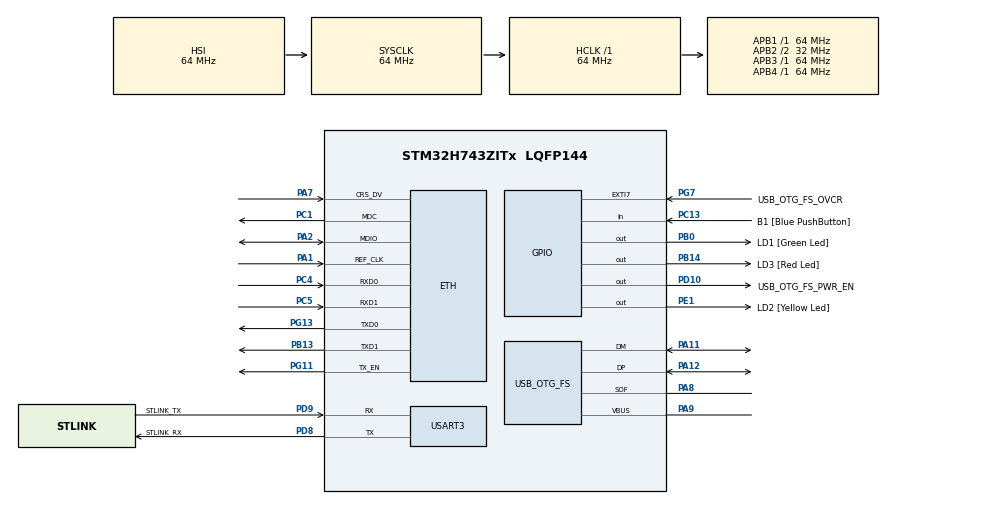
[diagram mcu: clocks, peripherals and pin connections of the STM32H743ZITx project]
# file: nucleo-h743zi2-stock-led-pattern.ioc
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ETH.MediaInterface=HAL_ETH_RMII_MODE
Mcu.Family=STM32H7
Mcu.Name=STM32H743ZITx
Mcu.Package=LQFP144
NVIC.EXTI9_5_IRQn=true\:0\:0\:false\:false\:false\:true\:false\:true
NVIC.PriorityGroup=NVIC_PRIORITYGROUP_4
NVIC.TIM16_IRQn=true\:0\:0\:false\:false\:true\:true\:true\:true
PA1.Mode=RMII
PA1.Signal=ETH_REF_CLK
PA11.Mode=Device_Only
PA11.Signal=USB_OTG_FS_DM
PA12.Mode=Device_Only
PA12.Signal=USB_OTG_FS_DP
PA2.Mode=RMII
PA2.Signal=ETH_MDIO
PA7.Mode=RMII
PA7.Signal=ETH_CRS_DV
PA8.Mode=Activate_SOF_FS
PA8.Signal=USB_OTG_FS_SOF
PA9.Mode=Activate_VBUS
PA9.Signal=USB_OTG_FS_VBUS
PB0.GPIO_Label=LD1 [Green Led]
PB0.Signal=GPIO_Output
PB13.Mode=RMII
PB13.Signal=ETH_TXD1
PB14.GPIO_Label=LD3 [Red Led]
PB14.Signal=GPIO_Output
PC1.Mode=RMII
PC1.Signal=ETH_MDC
PC13.GPIO_Label=B1 [Blue PushButton]
PC13.Signal=GPIO_Input
PC14-OSC32_IN\ (OSC32_IN).Mode=LSE-External-Oscillator
PC14-OSC32_IN\ (OSC32_IN).Signal=RCC_OSC32_IN
PC15-OSC32_OUT\ (OSC32_OUT).Mode=LSE-External-Oscillator
PC15-OSC32_OUT\ (OSC32_OUT).Signal=RCC_OSC32_OUT
PC4.Mode=RMII
PC4.Signal=ETH_RXD0
PC5.Mode=RMII
PC5.Signal=ETH_RXD1
PD10.GPIO_Label=USB_OTG_FS_PWR_EN
PD10.Signal=GPIO_Output
PD8.GPIO_Label=STLINK_RX
PD8.Mode=Asynchronous
PD8.Signal=USART3_TX
PD9.GPIO_Label=STLINK_TX
PD9.Mode=Asynchronous
PD9.Signal=USART3_RX
PE1.GPIO_Label=LD2 [Yellow Led]
PE1.Signal=GPIO_Output
PG11.Mode=RMII
PG11.Signal=ETH_TX_EN
PG13.Mode=RMII
PG13.Signal=ETH_TXD0
PG7.GPIO_Label=USB_OTG_FS_OVCR
PG7.Signal=GPXTI7
PH0-OSC_IN\ (PH0).Mode=HSE-External-Clock-Source
PH0-OSC_IN\ (PH0).Signal=RCC_OSC_IN
PH1-OSC_OUT\ (PH1).Signal=RCC_OSC_OUT
ProjectManager.HeapSize=0x200
ProjectManager.StackSize=0x400
ProjectManager.TargetToolchain=STM32CubeIDE
RCC.ADCFreq_Value=16125000
RCC.APB1Freq_Value=64000000
RCC.APB2Freq_Value=32000000
RCC.APB3Freq_Value=64000000
RCC.APB4Freq_Value=64000000
RCC.CortexFreq_Value=64000000
RCC.D2PPRE2=RCC_APB2_DIV2
RCC.DIVM1=1
RCC.DIVN1=24
RCC.DIVQ1=4
RCC.HCLKFreq_Value=64000000
RCC.HSE_VALUE=8000000
RCC.PLLFRACN=0
RCC.PWR_Regulator_Voltage_Scale=PWR_REGULATOR_VOLTAGE_SCALE2
RCC.SYSCLKFreq_VALUE=64000000
RCC.USBFreq_Value=48000000
TIM16.Period=2500-1
TIM16.Prescaler=6400-1
USART3.VirtualMode-Asynchronous=VM_ASYNC
USB_OTG_FS.VirtualMode=Device_Only
VP_TIM16_VS_ClockSourceINT.Mode=Enable_Timer
board=NUCLEO-H743ZI2

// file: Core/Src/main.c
/* USER CODE BEGIN Header */
/**
  ******************************************************************************
  * @file           : main.c
  * @brief          : Main program body
  ******************************************************************************
  * @attention
  *
  * Copyright (c) 2022 STMicroelectronics.
  * All rights reserved.
  *
  * This software is licensed under terms that can be found in the LICENSE file
  * in the root directory of this software component.
  * If no LICENSE file comes with this software, it is provided AS-IS.
  *
  ******************************************************************************
  */
/* USER CODE END Header */
#include "main.h"
#include "string.h"

/* USER CODE BEGIN Includes */
#include <stdio.h>

/* USER CODE END Includes */

#if defined ( __ICCARM__ ) /*!< IAR Compiler */
#pragma location=0x30000000
ETH_DMADescTypeDef  DMARxDscrTab[ETH_RX_DESC_CNT]; /* Ethernet Rx DMA Descriptors */
#pragma location=0x30000200
ETH_DMADescTypeDef  DMATxDscrTab[ETH_TX_DESC_CNT]; /* Ethernet Tx DMA Descriptors */
#pragma location=0x30000260
uint8_t Rx_Buff[ETH_RX_DESC_CNT][ETH_MAX_PACKET_SIZE]; /* Ethernet Receive Buffers */

#elif defined ( __CC_ARM )  /* MDK ARM Compiler */

__attribute__((at(0x30000000))) ETH_DMADescTypeDef  DMARxDscrTab[ETH_RX_DESC_CNT]; /* Ethernet Rx DMA Descriptors */
__attribute__((at(0x30000200))) ETH_DMADescTypeDef  DMATxDscrTab[ETH_TX_DESC_CNT]; /* Ethernet Tx DMA Descriptors */
__attribute__((at(0x30000260))) uint8_t Rx_Buff[ETH_RX_DESC_CNT][ETH_MAX_PACKET_SIZE]; /* Ethernet Receive Buffer */

#elif defined ( __GNUC__ ) /* GNU Compiler */
ETH_DMADescTypeDef DMARxDscrTab[ETH_RX_DESC_CNT] __attribute__((section(".RxDecripSection"))); /* Ethernet Rx DMA Descriptors */
ETH_DMADescTypeDef DMATxDscrTab[ETH_TX_DESC_CNT] __attribute__((section(".TxDecripSection")));   /* Ethernet Tx DMA Descriptors */
uint8_t Rx_Buff[ETH_RX_DESC_CNT][ETH_MAX_PACKET_SIZE] __attribute__((section(".RxArraySection"))); /* Ethernet Receive Buffers */
#endif

ETH_TxPacketConfig TxConfig;

ETH_HandleTypeDef heth;

TIM_HandleTypeDef htim16;

UART_HandleTypeDef huart3;

PCD_HandleTypeDef hpcd_USB_OTG_FS;

/* USER CODE BEGIN PV */
#define PUTCHAR_PROTOTYPE int __io_putchar(int ch)
#define GETCHAR_PROTOTYPE int __io_getchar()

/* USER CODE END PV */

void SystemClock_Config(void);
static void MX_GPIO_Init(void);
static void MX_ETH_Init(void);
static void MX_USART3_UART_Init(void);
static void MX_USB_OTG_FS_PCD_Init(void);
static void MX_TIM16_Init(void);

/* USER CODE BEGIN 0 */

// global variables, defined in main()
gpio_t user_led_green;
gpio_t user_led_yellow;
gpio_t user_led_red;
gpio_t user_button;
uint8_t is_changed = 0;
uint8_t state = 0;
uint32_t counter_tick = 0;

/**
 * delay for `duration` miliseconds
 * but also constantly poll the user button to see if it was pressed
 * update state variable
 */
void check_button(){
	if (HAL_GPIO_ReadPin(user_button.bank, user_button.pin) == 1){	// button is pressed
		printf("DEBUG: button pressed!\n");
		while(HAL_GPIO_ReadPin(user_button.bank, user_button.pin) == 1){ // wait until release
			// do nothing
		}
		state = state + 1;
		is_changed = 1;
		printf("DEBUG: button released!\n");
	}
}

/*
 * turn all user LEDs off
 */
void turn_all_off(){
	HAL_GPIO_WritePin(user_led_green.bank, 	user_led_green.pin, 	GPIO_PIN_RESET);
	HAL_GPIO_WritePin(user_led_yellow.bank, user_led_yellow.pin, 	GPIO_PIN_RESET);
	HAL_GPIO_WritePin(user_led_red.bank, 	user_led_red.pin, 		GPIO_PIN_RESET);
}

/*
 * turn all user LEDs on
 */
void turn_all_on(){
	HAL_GPIO_WritePin(user_led_green.bank, 	user_led_green.pin, 	GPIO_PIN_SET);
	HAL_GPIO_WritePin(user_led_yellow.bank, user_led_yellow.pin, 	GPIO_PIN_SET);
	HAL_GPIO_WritePin(user_led_red.bank, 	user_led_red.pin, 		GPIO_PIN_SET);
}

/* USER CODE END 0 */

int main(void)
{
  /* USER CODE BEGIN 1 */

	/**
	 * User LED colors
	 * LD1 = PB0 	= green
	 * LD2 = PE1 	= yellow
	 * LD3 = PB14 	= red
	 */

	user_led_green.bank = GPIOB;
	user_led_green.pin = GPIO_PIN_0;

	user_led_yellow.bank = GPIOE;
	user_led_yellow.pin = GPIO_PIN_1;

	user_led_red.bank = GPIOB;
	user_led_red.pin = GPIO_PIN_14;

	/**
	 * user button
	 * um1974-stm32-nucleo144-boards-mb1137-stmicroelectronics.pdf
	 * section 6.6
	 */
	user_button.bank = GPIOC;
	user_button.pin = GPIO_PIN_13;

  /* USER CODE END 1 */

  /* MCU Configuration--------------------------------------------------------*/

  /* Reset of all peripherals, Initializes the Flash interface and the Systick. */
  HAL_Init();

  /* Configure the system clock */
  SystemClock_Config();

  /* Initialize all configured peripherals */
  MX_GPIO_Init();
  MX_ETH_Init();
  MX_USART3_UART_Init();
  MX_USB_OTG_FS_PCD_Init();
  MX_TIM16_Init();
  /* USER CODE BEGIN 2 */

  // test UART connection
  printf("hello world\n");

  /*
   * start timer in interrupt mode
   *
   * timer has a clock feeding into it at 64MHz
   * pre-scaler set to 6400, so clock ticks 64,000,000 / 6,400 = 10,000x per second
   * clock period set to 2500
   *
   * so the interrupt will trigger when clock counts to 2,500.
   * At a tick rate of 10,000x per second, the interrupt triggers every 0.25s
   */
  HAL_TIM_Base_Start_IT(&htim16);

  /* USER CODE END 2 */

  /* Infinite loop */
  /* USER CODE BEGIN WHILE */
  while (1)
  {
	  // printf("DEBUG: state=3%u \t mod(state,3)=%1u\n", state, state%3);
	  check_button();

	  if(is_changed){
		  turn_all_off(); // turn all LED's off when any change is detected
		  is_changed = 0; // set back to 0
	  }

	  // turn on the active LED
	  // HAL_GPIO_WritePin(active_led.bank, active_led.pin, GPIO_PIN_SET);

    /* USER CODE END WHILE */

  }
}

void SystemClock_Config(void)
{
  RCC_OscInitTypeDef RCC_OscInitStruct = {0};
  RCC_ClkInitTypeDef RCC_ClkInitStruct = {0};

  /** Supply configuration update enable
  */
  HAL_PWREx_ConfigSupply(PWR_LDO_SUPPLY);

  /** Configure the main internal regulator output voltage
  */
  __HAL_PWR_VOLTAGESCALING_CONFIG(PWR_REGULATOR_VOLTAGE_SCALE2);

  while(!__HAL_PWR_GET_FLAG(PWR_FLAG_VOSRDY)) {}

  /** Initializes the RCC Oscillators according to the specified parameters
  * in the RCC_OscInitTypeDef structure.
  */
  RCC_OscInitStruct.OscillatorType = RCC_OSCILLATORTYPE_HSI|RCC_OSCILLATORTYPE_HSE;
  RCC_OscInitStruct.HSEState = RCC_HSE_BYPASS;
  RCC_OscInitStruct.HSIState = RCC_HSI_DIV1;
  RCC_OscInitStruct.HSICalibrationValue = RCC_HSICALIBRATION_DEFAULT;
  RCC_OscInitStruct.PLL.PLLState = RCC_PLL_ON;
  RCC_OscInitStruct.PLL.PLLSource = RCC_PLLSOURCE_HSE;
  RCC_OscInitStruct.PLL.PLLM = 1;
  RCC_OscInitStruct.PLL.PLLN = 24;
  RCC_OscInitStruct.PLL.PLLP = 2;
  RCC_OscInitStruct.PLL.PLLQ = 4;
  RCC_OscInitStruct.PLL.PLLR = 2;
  RCC_OscInitStruct.PLL.PLLRGE = RCC_PLL1VCIRANGE_3;
  RCC_OscInitStruct.PLL.PLLVCOSEL = RCC_PLL1VCOWIDE;
  RCC_OscInitStruct.PLL.PLLFRACN = 0;
  if (HAL_RCC_OscConfig(&RCC_OscInitStruct) != HAL_OK)
  {
    Error_Handler();
  }

  /** Initializes the CPU, AHB and APB buses clocks
  */
  RCC_ClkInitStruct.ClockType = RCC_CLOCKTYPE_HCLK|RCC_CLOCKTYPE_SYSCLK
                              |RCC_CLOCKTYPE_PCLK1|RCC_CLOCKTYPE_PCLK2
                              |RCC_CLOCKTYPE_D3PCLK1|RCC_CLOCKTYPE_D1PCLK1;
  RCC_ClkInitStruct.SYSCLKSource = RCC_SYSCLKSOURCE_HSI;
  RCC_ClkInitStruct.SYSCLKDivider = RCC_SYSCLK_DIV1;
  RCC_ClkInitStruct.AHBCLKDivider = RCC_HCLK_DIV1;
  RCC_ClkInitStruct.APB3CLKDivider = RCC_APB3_DIV1;
  RCC_ClkInitStruct.APB1CLKDivider = RCC_APB1_DIV1;
  RCC_ClkInitStruct.APB2CLKDivider = RCC_APB2_DIV2;
  RCC_ClkInitStruct.APB4CLKDivider = RCC_APB4_DIV1;

  if (HAL_RCC_ClockConfig(&RCC_ClkInitStruct, FLASH_LATENCY_1) != HAL_OK)
  {
    Error_Handler();
  }
}

static void MX_ETH_Init(void)
{

   static uint8_t MACAddr[6];

  heth.Instance = ETH;
  MACAddr[0] = 0x00;
  MACAddr[1] = 0x80;
  MACAddr[2] = 0xE1;
  MACAddr[3] = 0x00;
  MACAddr[4] = 0x00;
  MACAddr[5] = 0x00;
  heth.Init.MACAddr = &MACAddr[0];
  heth.Init.MediaInterface = HAL_ETH_RMII_MODE;
  heth.Init.TxDesc = DMATxDscrTab;
  heth.Init.RxDesc = DMARxDscrTab;
  heth.Init.RxBuffLen = 1524;

  if (HAL_ETH_Init(&heth) != HAL_OK)
  {
    Error_Handler();
  }

  memset(&TxConfig, 0 , sizeof(ETH_TxPacketConfig));
  TxConfig.Attributes = ETH_TX_PACKETS_FEATURES_CSUM | ETH_TX_PACKETS_FEATURES_CRCPAD;
  TxConfig.ChecksumCtrl = ETH_CHECKSUM_IPHDR_PAYLOAD_INSERT_PHDR_CALC;
  TxConfig.CRCPadCtrl = ETH_CRC_PAD_INSERT;

}

static void MX_TIM16_Init(void)
{

  htim16.Instance = TIM16;
  htim16.Init.Prescaler = 6400-1;
  htim16.Init.CounterMode = TIM_COUNTERMODE_UP;
  htim16.Init.Period = 2500-1;
  htim16.Init.ClockDivision = TIM_CLOCKDIVISION_DIV1;
  htim16.Init.RepetitionCounter = 0;
  htim16.Init.AutoReloadPreload = TIM_AUTORELOAD_PRELOAD_DISABLE;
  if (HAL_TIM_Base_Init(&htim16) != HAL_OK)
  {
    Error_Handler();
  }

}

static void MX_USART3_UART_Init(void)
{

  huart3.Instance = USART3;
  huart3.Init.BaudRate = 115200;
  huart3.Init.WordLength = UART_WORDLENGTH_8B;
  huart3.Init.StopBits = UART_STOPBITS_1;
  huart3.Init.Parity = UART_PARITY_NONE;
  huart3.Init.Mode = UART_MODE_TX_RX;
  huart3.Init.HwFlowCtl = UART_HWCONTROL_NONE;
  huart3.Init.OverSampling = UART_OVERSAMPLING_16;
  huart3.Init.OneBitSampling = UART_ONE_BIT_SAMPLE_DISABLE;
  huart3.Init.ClockPrescaler = UART_PRESCALER_DIV1;
  huart3.AdvancedInit.AdvFeatureInit = UART_ADVFEATURE_NO_INIT;
  if (HAL_UART_Init(&huart3) != HAL_OK)
  {
    Error_Handler();
  }
  if (HAL_UARTEx_SetTxFifoThreshold(&huart3, UART_TXFIFO_THRESHOLD_1_8) != HAL_OK)
  {
    Error_Handler();
  }
  if (HAL_UARTEx_SetRxFifoThreshold(&huart3, UART_RXFIFO_THRESHOLD_1_8) != HAL_OK)
  {
    Error_Handler();
  }
  if (HAL_UARTEx_DisableFifoMode(&huart3) != HAL_OK)
  {
    Error_Handler();
  }

}

static void MX_USB_OTG_FS_PCD_Init(void)
{

  hpcd_USB_OTG_FS.Instance = USB_OTG_FS;
  hpcd_USB_OTG_FS.Init.dev_endpoints = 9;
  hpcd_USB_OTG_FS.Init.speed = PCD_SPEED_FULL;
  hpcd_USB_OTG_FS.Init.dma_enable = DISABLE;
  hpcd_USB_OTG_FS.Init.phy_itface = PCD_PHY_EMBEDDED;
  hpcd_USB_OTG_FS.Init.Sof_enable = ENABLE;
  hpcd_USB_OTG_FS.Init.low_power_enable = DISABLE;
  hpcd_USB_OTG_FS.Init.lpm_enable = DISABLE;
  hpcd_USB_OTG_FS.Init.battery_charging_enable = ENABLE;
  hpcd_USB_OTG_FS.Init.vbus_sensing_enable = ENABLE;
  hpcd_USB_OTG_FS.Init.use_dedicated_ep1 = DISABLE;
  if (HAL_PCD_Init(&hpcd_USB_OTG_FS) != HAL_OK)
  {
    Error_Handler();
  }

}

static void MX_GPIO_Init(void)
{
  GPIO_InitTypeDef GPIO_InitStruct = {0};

  /* GPIO Ports Clock Enable */
  __HAL_RCC_GPIOC_CLK_ENABLE();
  __HAL_RCC_GPIOH_CLK_ENABLE();
  __HAL_RCC_GPIOA_CLK_ENABLE();
  __HAL_RCC_GPIOB_CLK_ENABLE();
  __HAL_RCC_GPIOD_CLK_ENABLE();
  __HAL_RCC_GPIOG_CLK_ENABLE();
  __HAL_RCC_GPIOE_CLK_ENABLE();

  /*Configure GPIO pin Output Level */
  HAL_GPIO_WritePin(GPIOB, LD1_Pin|LD3_Pin, GPIO_PIN_RESET);

  /*Configure GPIO pin Output Level */
  HAL_GPIO_WritePin(USB_OTG_FS_PWR_EN_GPIO_Port, USB_OTG_FS_PWR_EN_Pin, GPIO_PIN_RESET);

  /*Configure GPIO pin Output Level */
  HAL_GPIO_WritePin(LD2_GPIO_Port, LD2_Pin, GPIO_PIN_RESET);

  /*Configure GPIO pin : B1_Pin */
  GPIO_InitStruct.Pin = B1_Pin;
  GPIO_InitStruct.Mode = GPIO_MODE_INPUT;
  GPIO_InitStruct.Pull = GPIO_NOPULL;
  HAL_GPIO_Init(B1_GPIO_Port, &GPIO_InitStruct);

  /*Configure GPIO pins : LD1_Pin LD3_Pin */
  GPIO_InitStruct.Pin = LD1_Pin|LD3_Pin;
  GPIO_InitStruct.Mode = GPIO_MODE_OUTPUT_PP;
  GPIO_InitStruct.Pull = GPIO_NOPULL;
  GPIO_InitStruct.Speed = GPIO_SPEED_FREQ_LOW;
  HAL_GPIO_Init(GPIOB, &GPIO_InitStruct);

  /*Configure GPIO pin : USB_OTG_FS_PWR_EN_Pin */
  GPIO_InitStruct.Pin = USB_OTG_FS_PWR_EN_Pin;
  GPIO_InitStruct.Mode = GPIO_MODE_OUTPUT_PP;
  GPIO_InitStruct.Pull = GPIO_NOPULL;
  GPIO_InitStruct.Speed = GPIO_SPEED_FREQ_LOW;
  HAL_GPIO_Init(USB_OTG_FS_PWR_EN_GPIO_Port, &GPIO_InitStruct);

  /*Configure GPIO pin : USB_OTG_FS_OVCR_Pin */
  GPIO_InitStruct.Pin = USB_OTG_FS_OVCR_Pin;
  GPIO_InitStruct.Mode = GPIO_MODE_IT_RISING;
  GPIO_InitStruct.Pull = GPIO_NOPULL;
  HAL_GPIO_Init(USB_OTG_FS_OVCR_GPIO_Port, &GPIO_InitStruct);

  /*Configure GPIO pin : LD2_Pin */
  GPIO_InitStruct.Pin = LD2_Pin;
  GPIO_InitStruct.Mode = GPIO_MODE_OUTPUT_PP;
  GPIO_InitStruct.Pull = GPIO_NOPULL;
  GPIO_InitStruct.Speed = GPIO_SPEED_FREQ_LOW;
  HAL_GPIO_Init(LD2_GPIO_Port, &GPIO_InitStruct);

  /* EXTI interrupt init*/
  HAL_NVIC_SetPriority(EXTI9_5_IRQn, 0, 0);
  HAL_NVIC_EnableIRQ(EXTI9_5_IRQn);

}

/* USER CODE BEGIN 4 */
// ==================== uart => printf substitute =====================

/**
  * @brief  Retargets the C library printf and scanf functions to the UART.
  * @param  None
  * @retval None
  */

PUTCHAR_PROTOTYPE
{
  /* Place your implementation of fputc here */
  /* e.g. write a character to the LPUART1 and Loop until the end of transmission */
  HAL_UART_Transmit(&huart3, (uint8_t *)&ch, 1, 0xFFFF);

  return ch;
}

GETCHAR_PROTOTYPE
{
	uint8_t ch;

	HAL_UART_Receive(&huart3, &ch, 1, 0xFFFF);

	return ch;
}

/*
 * timer reset callback
 * https://www.youtube.com/watch?v=VfbW6nfG4kw
 */

void HAL_TIM_PeriodElapsedCallback(TIM_HandleTypeDef *htim){
	/*
	 * Yong Da, Friday, July 8, 2022
	 * don't use printf() to print, since it doesn't send the UART transmission right away
	 * 	it tends to bunch up and send once every 1s, with a lot of messages buffered together
	 *
	 * directly use HAL_UART_Transmit to send in real time
	 */
	char uart_buf[100];
	uint32_t uart_buf_len;
	uart_buf_len = sprintf(uart_buf, "DEBUG: entered timer period elapsed call back, counter_tick=%lu\t state=%d\n", counter_tick, state);
	HAL_UART_Transmit(&huart3, (uint8_t *)uart_buf, uart_buf_len, HAL_MAX_DELAY);

	// check correct timer
	if (htim == &htim16){
		counter_tick++;
		// HAL_GPIO_TogglePin(user_led_red.bank, user_led_red.pin);
	}

	// green LED
	if (state%3 == 0){
		if (counter_tick%4 == 0){
			HAL_GPIO_TogglePin(user_led_green.bank, user_led_green.pin);
		}
	}
	// yellow LED
	else if (state%3 == 1){
		if (counter_tick%2 == 1){
			HAL_GPIO_TogglePin(user_led_yellow.bank, user_led_yellow.pin);
		}

	}
	// red LED
	else{
		HAL_GPIO_TogglePin(user_led_red.bank, user_led_red.pin);
	}
}

/* USER CODE END 4 */

void Error_Handler(void)
{
  __disable_irq();
  while (1)
  {
  }
}
